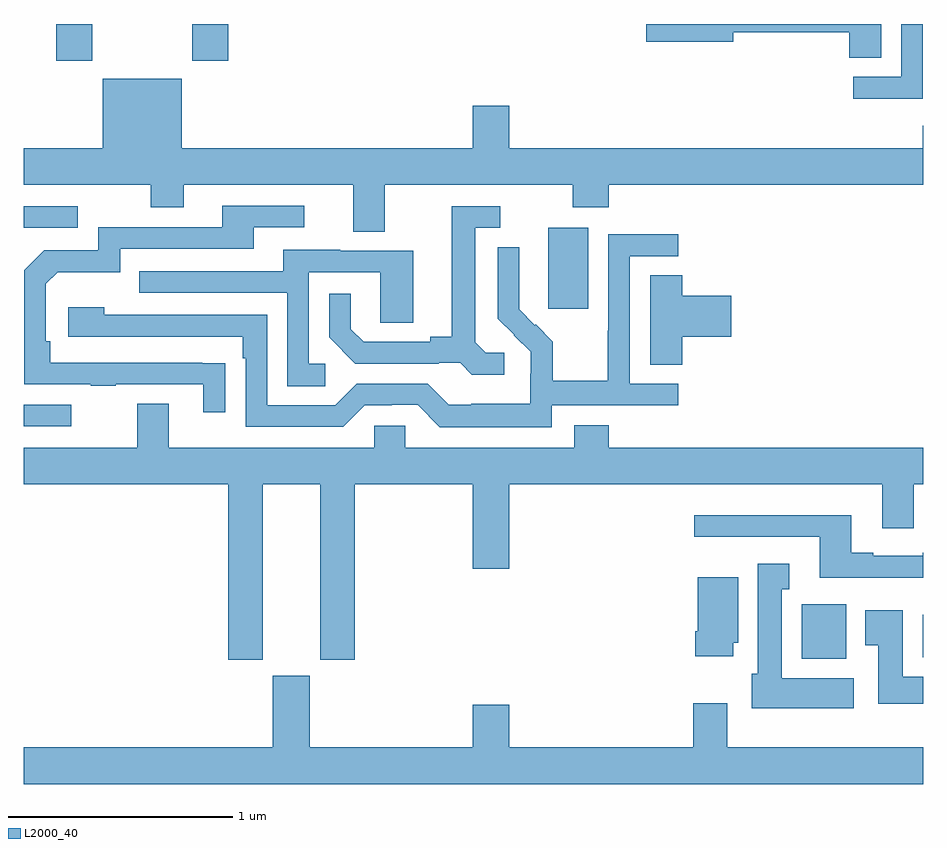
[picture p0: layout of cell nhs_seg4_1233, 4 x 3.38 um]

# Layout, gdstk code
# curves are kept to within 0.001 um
import gdstk
lib = gdstk.Library(unit=1e-6, precision=1e-09)
def R(c, l, rs):  # rectangles x0, y0, x1, y1
    for r in rs: c.add(gdstk.rectangle(r[:2], r[2:], *l))
def P(c, l, *ps):  # polygons
    for p in ps: c.add(gdstk.Polygon(p, *l))
L2000_40 = (2000, 40)

nhs_seg4_1233 = lib.new_cell('nhs_seg4_1233')
R(nhs_seg4_1233, L2000_40, [(178.46,764.078,178.657,764.32), (178.997,764.084,179,764.272), (175,765.111,175.21,765.207), (177.332,765.633,177.511,765.994), (175,765.993,175.24,766.089), (175.145,766.737,175.305,766.9), (175.75,766.737,175.91,766.9)])
P(nhs_seg4_1233, L2000_40, [(178.813,766.9),(177.768,766.9),(177.768,766.822),(178.156,766.822),(178.156,766.864),(178.67,766.864),(178.67,766.75),(178.813,766.75)],
  [(178.998,766.9),(178.902,766.9),(178.902,766.665),(178.689,766.665),(178.689,766.567),(178.998,766.567)],
  [(175.352,766.348),(175,766.348),(175,766.184),(175.564,766.184),(175.564,766.085),(175.711,766.085),(175.711,766.184),(176.465,766.184),(176.465,765.976),(176.605,765.976),(176.605,766.184),(177.442,766.184),(177.442,766.085),(177.602,766.085),(177.602,766.184),(179,766.184),(179,766.447),(178.997,766.447),(178.997,766.348),(177.16,766.348),(177.16,766.537),(176.996,766.537),(176.996,766.348),(175.702,766.348),(175.702,766.657),(175.352,766.657)],
  [(175.895,765.392),(175.118,765.393),(175.118,765.49),(175.098,765.49),(175.098,765.744),(175.151,765.797),(175.428,765.797),(175.428,765.9),(176.023,765.9),(176.023,765.996),(176.248,765.996),(176.248,766.092),(175.883,766.092),(175.883,765.996),(175.332,765.996),(175.332,765.894),(175.092,765.894),(175.002,765.804),(175.002,765.297),(175.297,765.297),(175.297,765.292),(175.409,765.292),(175.409,765.297),(175.799,765.297),(175.799,765.174),(175.895,765.174)],
  [(177.136,765.438),(177.054,765.438),(177.007,765.485),(177.007,765.993),(177.118,765.993),(177.118,766.089),(176.903,766.089),(176.903,765.509),(176.807,765.509),(176.807,765.486),(176.512,765.486),(176.455,765.543),(176.455,765.7),(176.358,765.7),(176.358,765.506),(176.474,765.39),(176.846,765.39),(176.846,765.393),(176.94,765.393),(176.992,765.341),(177.136,765.341)],
  [(177.348,765.204),(177.91,765.204),(177.91,765.3),(177.696,765.3),(177.696,765.867),(177.91,765.867),(177.91,765.966),(177.6,765.966),(177.6,765.536),(177.598,765.536),(177.598,765.313),(177.353,765.313),(177.353,765.487),(177.276,765.564),(177.273,765.561),(177.203,765.632),(177.204,765.908),(177.108,765.908),(177.108,765.59),(177.254,765.442),(177.254,765.345),(177.252,765.345),(177.252,765.211),(176.989,765.211),(176.989,765.207),(176.889,765.207),(176.796,765.3),(176.481,765.3),(176.385,765.204),(176.082,765.204),(176.082,765.606),(175.358,765.606),(175.358,765.64),(175.197,765.64),(175.197,765.51),(175.973,765.51),(175.973,765.413),(175.986,765.413),(175.986,765.108),(176.421,765.108),(176.517,765.204),(176.636,765.204),(176.636,765.207),(176.751,765.207),(176.851,765.107),(177.348,765.107)],
  [(176.341,765.39),(176.268,765.39),(176.268,765.795),(176.586,765.795),(176.586,765.571),(176.731,765.571),(176.731,765.891),(176.407,765.891),(176.407,765.895),(176.153,765.895),(176.153,765.801),(175.513,765.801),(175.513,765.705),(176.172,765.705),(176.172,765.289),(176.341,765.289)],
  [(177.929,765.509),(178.147,765.509),(178.147,765.692),(177.929,765.692),(177.929,765.782),(177.785,765.782),(177.785,765.385),(177.929,765.385)],
  [(176.062,764.852),(176.318,764.852),(176.318,764.073),(176.471,764.073),(176.471,764.852),(176.996,764.852),(176.996,764.478),(177.16,764.478),(177.16,764.852),(178.817,764.852),(178.817,764.658),(178.957,764.658),(178.957,764.852),(179,764.852),(179,765.016),(177.602,765.016),(177.602,765.115),(177.449,765.115),(177.449,765.016),(176.697,765.016),(176.697,765.114),(176.559,765.114),(176.559,765.016),(175.645,765.016),(175.645,765.211),(175.505,765.211),(175.505,765.016),(175,765.016),(175,764.852),(175.91,764.852),(175.91,764.073),(176.062,764.073)],
  [(179,764.548),(178.997,764.548),(178.997,764.535),(178.777,764.535),(178.777,764.548),(178.681,764.548),(178.681,764.716),(177.981,764.716),(177.981,764.619),(178.541,764.619),(178.541,764.438),(179,764.438)],
  [(178.69,763.99),(178.372,763.99),(178.372,764.387),(178.405,764.387),(178.405,764.5),(178.265,764.5),(178.265,764.01),(178.238,764.01),(178.238,763.856),(178.69,763.856)],
  [(178.156,764.148),(178.177,764.148),(178.177,764.44),(177.998,764.44),(177.998,764.2),(177.986,764.2),(177.986,764.088),(178.156,764.088)],
  [(179,763.996),(178.909,763.996),(178.909,764.293),(178.742,764.293),(178.742,764.137),(178.799,764.137),(178.799,763.878),(179,763.878)],
  [(179,763.684),(178.129,763.684),(178.129,763.879),(177.977,763.879),(177.977,763.684),(177.16,763.684),(177.16,763.873),(176.996,763.873),(176.996,763.684),(176.272,763.684),(176.272,764.001),(176.108,764.001),(176.108,763.684),(175,763.684),(175,763.52),(179,763.52)])

lib.write_gds('nhs_seg4_1233.gds')
